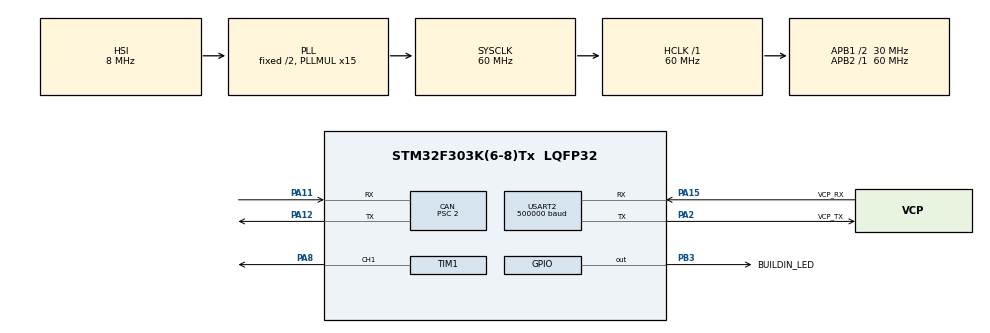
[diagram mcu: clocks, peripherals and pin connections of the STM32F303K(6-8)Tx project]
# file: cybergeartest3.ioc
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CAN.BS1=CAN_BS1_12TQ
CAN.BS2=CAN_BS2_2TQ
CAN.CalculateBaudRate=999999
CAN.CalculateTimeBit=1000
CAN.CalculateTimeQuantum=66.66666666666667
CAN.Prescaler=2
Dma.Request0=USART2_TX
Dma.Request1=USART2_RX
Dma.USART2_RX.1.Direction=DMA_PERIPH_TO_MEMORY
Dma.USART2_RX.1.Instance=DMA1_Channel6
Dma.USART2_RX.1.MemDataAlignment=DMA_MDATAALIGN_BYTE
Dma.USART2_RX.1.MemInc=DMA_MINC_ENABLE
Dma.USART2_RX.1.Mode=DMA_CIRCULAR
Dma.USART2_RX.1.PeriphDataAlignment=DMA_PDATAALIGN_BYTE
Dma.USART2_RX.1.PeriphInc=DMA_PINC_DISABLE
Dma.USART2_RX.1.Priority=DMA_PRIORITY_LOW
Dma.USART2_TX.0.Direction=DMA_MEMORY_TO_PERIPH
Dma.USART2_TX.0.Instance=DMA1_Channel7
Dma.USART2_TX.0.MemDataAlignment=DMA_MDATAALIGN_BYTE
Dma.USART2_TX.0.MemInc=DMA_MINC_ENABLE
Dma.USART2_TX.0.Mode=DMA_NORMAL
Dma.USART2_TX.0.PeriphDataAlignment=DMA_PDATAALIGN_BYTE
Dma.USART2_TX.0.PeriphInc=DMA_PINC_DISABLE
Dma.USART2_TX.0.Priority=DMA_PRIORITY_LOW
Mcu.Family=STM32F3
Mcu.Name=STM32F303K(6-8)Tx
Mcu.Package=LQFP32
NVIC.DMA1_Channel6_IRQn=true\:0\:0\:false\:false\:true\:false\:true\:true
NVIC.DMA1_Channel7_IRQn=true\:0\:0\:false\:false\:true\:false\:true\:true
NVIC.PriorityGroup=NVIC_PRIORITYGROUP_4
NVIC.USART2_IRQn=true\:0\:0\:false\:false\:true\:true\:true\:true
PA11.Mode=CAN_Activate
PA11.Signal=CAN_RX
PA12.Mode=CAN_Activate
PA12.Signal=CAN_TX
PA13.GPIO_Label=SWDIO
PA13.Mode=Serial_Wire
PA13.Signal=SYS_JTMS-SWDIO
PA14.GPIO_Label=SWCLK
PA14.Mode=Serial_Wire
PA14.Signal=SYS_JTCK-SWCLK
PA15.GPIO_Label=VCP_RX
PA15.Mode=Asynchronous
PA15.Signal=USART2_RX
PA2.GPIO_Label=VCP_TX
PA2.Mode=Asynchronous
PA2.Signal=USART2_TX
PA8.Signal=S_TIM1_CH1
PB3.GPIO_Label=BUILDIN_LED
PB3.Signal=GPIO_Output
PF0\ /\ OSC_IN.GPIO_Label=MCO
PF0\ /\ OSC_IN.Mode=HSE-External-Clock-Source
PF0\ /\ OSC_IN.Signal=RCC_OSC_IN
ProjectManager.HeapSize=0x200
ProjectManager.StackSize=0x400
ProjectManager.TargetToolchain=STM32CubeIDE
RCC.AHBFreq_Value=60000000
RCC.APB1CLKDivider=RCC_HCLK_DIV2
RCC.APB1Freq_Value=30000000
RCC.APB1TimFreq_Value=60000000
RCC.APB2Freq_Value=60000000
RCC.APB2TimFreq_Value=60000000
RCC.CortexFreq_Value=60000000
RCC.HCLKFreq_Value=60000000
RCC.HSE_VALUE=8000000
RCC.HSI_VALUE=8000000
RCC.PLLMUL=RCC_PLL_MUL15
RCC.SYSCLKFreq_VALUE=60000000
RCC.SYSCLKSourceVirtual=RCC_SYSCLKSOURCE_PLLCLK
SH.S_TIM1_CH1.0=TIM1_CH1,PWM Generation1 CH1
TIM1.Channel-PWM\ Generation1\ CH1=TIM_CHANNEL_1
USART2.BaudRate=500000
USART2.VirtualMode-Asynchronous=VM_ASYNC
board=NUCLEO-F303K8

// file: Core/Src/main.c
/* USER CODE BEGIN Header */
/**
 ******************************************************************************
 * @file           : main.c
 * @brief          : Main program body
 ******************************************************************************
 * @attention
 *
 * <h2><center>&copy; Copyright (c) 2024 STMicroelectronics.
 * All rights reserved.</center></h2>
 *
 * This software component is licensed by ST under BSD 3-Clause license,
 * the "License"; You may not use this file except in compliance with the
 * License. You may obtain a copy of the License at:
 *                        opensource.org/licenses/BSD-3-Clause
 *
 ******************************************************************************
 */
/* USER CODE END Header */
#include "main.h"

/* USER CODE BEGIN Includes */
#include "CyberGear.h"
#include "Easy_CAN6.h"
#include <math.h>
#include <string.h>
/* USER CODE END Includes */

CAN_HandleTypeDef hcan;

TIM_HandleTypeDef htim1;

UART_HandleTypeDef huart2;
DMA_HandleTypeDef hdma_usart2_tx;
DMA_HandleTypeDef hdma_usart2_rx;

/* USER CODE BEGIN PV */
CyberGear_Typedef my_cyber[4];
Easy_CAN6_Typedef ecan;
/* USER CODE END PV */

void SystemClock_Config(void);
static void MX_GPIO_Init(void);
static void MX_DMA_Init(void);
static void MX_USART2_UART_Init(void);
static void MX_CAN_Init(void);
static void MX_TIM1_Init(void);

/* USER CODE BEGIN 0 */
#define is_run_CyberGear (1) ///////////////////////////////////CyberGear動作させるかさせないか

#define byte_number 20
uint8_t UART2_RX_Buffer[byte_number];
uint8_t txBuff[] = "Hello, World\n";
uint8_t txBuff_2[] = "99行目\n";
uint32_t startTime;
uint32_t setTime;
uint32_t sdTime;
uint8_t sdBuff[100];
uint8_t flagRcved;		/* 受信完�?フラグ */
uint8_t rcvBuffer[30];	/* 受信バッファ*/
uint8_t sndBuffer[100]; /* 送信バッファ */
static UART_HandleTypeDef *pUart2;
float motor_speed[4];

unsigned char buf[20];

#define TRUE (1)
#define FALSE (0)

// デバッグ用
uint32_t debug;
uint16_t debug_1 = 10;
uint16_t debug_2 = 10;
uint16_t debug_current_line = 1;

// 1周期の時間を計測する用
uint32_t begin_time;
uint32_t end_time;
uint32_t cycle_time;

// UARTの受信内容
uint8_t uart_prev_count;
uint8_t uart_prev_count_past;
uint16_t command_id;
float command_content;

uint32_t wr_ptr;

// CyberGearの受信データ保存用
float CyberGear_pos[4];

void HAL_CAN_RxFifo0MsgPendingCallback(CAN_HandleTypeDef *hcan)
{
	CAN_RxHeaderTypeDef RxHeader;
	uint8_t rxbuf[8];
	HAL_CAN_GetRxMessage(hcan, CAN_RX_FIFO0, &RxHeader, rxbuf);

	CyberGear_CANRxTask(&my_cyber[0], hcan, RxHeader, rxbuf);
	CyberGear_CANRxTask(&my_cyber[1], hcan, RxHeader, rxbuf);
	CyberGear_CANRxTask(&my_cyber[2], hcan, RxHeader, rxbuf);
	CyberGear_CANRxTask(&my_cyber[3], hcan, RxHeader, rxbuf);
}

void HAL_UART_TxCpltCallback(UART_HandleTypeDef *huart)
{
	huart2.gState = HAL_UART_STATE_READY;
}

void HAL_UART_RxCpltCallback(UART_HandleTypeDef *huart)
{
	flagRcved = TRUE; /* 受信完�?フラグ設�? */
	//  HAL_GPIO_TogglePin(BUILDIN_LED_GPIO_Port, BUILDIN_LED_Pin);
}
/* USER CODE END 0 */

int main(void)
{

	/* MCU Configuration--------------------------------------------------------*/

	/* Reset of all peripherals, Initializes the Flash interface and the Systick. */
	HAL_Init();

	/* Configure the system clock */
	SystemClock_Config();

	/* Initialize all configured peripherals */
	MX_GPIO_Init();
	MX_DMA_Init();
	MX_USART2_UART_Init();
	MX_CAN_Init();
	MX_TIM1_Init();
	/* USER CODE BEGIN 2 */
	Easy_CAN6_Start(&ecan, &hcan, 2);

	//	CAN_TxHeaderTypeDef TxHeader;
	//	uint32_t TxMailbox;
	//	uint8_t TxData[8];
	//	if(0 < HAL_CAN_GetTxMailboxesFreeLevel(&hcan)){
	//	    TxHeader.StdId = 0x1FF;                 // CAN ID
	//	    TxHeader.RTR = CAN_RTR_DATA;            // フレームタイプはデータフレーム
	//	    TxHeader.IDE = CAN_ID_STD;              // 標準ID(11ﾋﾞｯﾄ)
	//	    TxHeader.DLC = 8;                       // データ長は8バイトに
	//	    TxHeader.TransmitGlobalTime = DISABLE;  // ???
	//	    TxData[0] = 0x61;
	//	    TxData[1] = 0xA8; // MIN-2500 MAX25000
	//	    TxData[2] = 0x00;
	//	    TxData[3] = 0x00;
	//	    TxData[4] = 0x00;
	//	    TxData[5] = 0x00;
	//	    TxData[6] = 0x00;
	//	    TxData[7] = 0x00;
	//	    HAL_CAN_AddTxMessage(&hcan, &TxHeader, TxData, &TxMailbox);
	//	}

//	for (int i = 0; i < 4; i++)

		for (int i = 1; i < 3; i++)
	{
		if (is_run_CyberGear)
		{
			debug_1 = i;
//			debug_2 = 195;
			debug_current_line = __LINE__;
			CyberGear_Init(&my_cyber[i], &ecan, 0x70 + i, 0, HAL_Delay);
//			debug_2 = 197;
			debug_current_line = __LINE__;
			CyberGear_ResetMotor(&my_cyber[i]);
//			debug_2 = 199;
			debug_current_line = __LINE__;
			CyberGear_SetMode(&my_cyber[i], MODE_SPEED);
//			debug_2 = 201;
			debug_current_line = __LINE__;
			CyberGear_SetConfig(&my_cyber[i], 12.0f, 30.0f, 4.0f);
//			debug_2 = 203;
			debug_current_line = __LINE__;
			CyberGear_EnableMotor(&my_cyber[i]);
//			debug_2 = 205;
			debug_current_line = __LINE__;
		}
	}
	HAL_Delay(10);

	HAL_UART_Transmit_DMA(&huart2,
						  (uint8_t *)"Then toggle LED each 8 letters.\r\n", 33);
	/* USER CODE END 2 */

	/* Infinite loop */
	while (1)
	{

		/* USER CODE BEGIN 3 */
		debug_current_line = __LINE__;
		begin_time = HAL_GetTick();
		//		HAL_GPIO_TogglePin(BUILDIN_LED_GPIO_Port, BUILDIN_LED_Pin);

		HAL_UART_Receive_DMA(&huart2, rcvBuffer, 7);
		//		HAL_UART_Receive(&huart2, rcvBuffer, 7, 1000);

		if (rcvBuffer[0] == 0 && rcvBuffer[1] == 0 && rcvBuffer[2] == 0 && rcvBuffer[3] == 0 && rcvBuffer[4] == 0 && rcvBuffer[5] == 0 && rcvBuffer[6] == 0)
		{
			HAL_Delay(100);
			HAL_NVIC_SystemReset();
		}

		buf[0] = (unsigned char)rcvBuffer[1];
		buf[1] = (unsigned char)rcvBuffer[2];
		buf[2] = (unsigned char)rcvBuffer[3];
		buf[3] = (unsigned char)rcvBuffer[4];
		buf[4] = (unsigned char)rcvBuffer[5];
		buf[5] = (unsigned char)rcvBuffer[6];
		buf[6] = (unsigned char)rcvBuffer[0];

		//		debug_2 = rcvBuffer[0];
		//		if(rcvBuffer[0] == 0){
		//			memcpy(buf, &rcvBuffer[1], sizeof(buf));
		//		}else{
		//			memcpy(buf, &rcvBuffer[0], sizeof(buf));
		//		}

		memcpy(&uart_prev_count, &buf[0], sizeof(uint8_t));

		uint8_t reversed_bytes[4];
		reversed_bytes[0] = buf[2];
		reversed_bytes[1] = buf[1];
		memcpy(&command_id, reversed_bytes, sizeof(uint16_t));

		uint8_t _temp_command_content[4];
		memcpy(_temp_command_content, &buf[3], sizeof(float));
		// バイト列を逆順にコピー
		for (int j = 0; j < 4; j++)
		{
			reversed_bytes[j] = _temp_command_content[3 - j];
		}
		memcpy(&command_content, reversed_bytes, sizeof(float));

		pUart2 = &huart2;
		wr_ptr = pUart2->hdmarx->Instance->CNDTR;

		if (uart_prev_count == 0 || uart_prev_count == uart_prev_count_past)
		{
			debug_2 = 123;
			wr_ptr = 0;
		}
		else if (uart_prev_count == uart_prev_count_past + 1)
		{
			debug_current_line = __LINE__;
			//    char str[6];
			//    sprintf(str, "\ndata[0] : %d\n", data[0]);
			//    HAL_UART_Transmit(&huart2, (uint8_t *)str, strlen(str), 0xFFFF);
			//
			//    sprintf(str, "data[1] : %d\n", data[1]);
			//    HAL_UART_Transmit(&huart2, (uint8_t *)str, strlen(str), 0xFFFF);

			switch (command_id)
			{
			case 22:
				motor_speed[0] = command_content;
				if (is_run_CyberGear)
				{
//					CyberGear_ControlSpeed(&my_cyber[0],
//										   (float)motor_speed[0]);
				}
				if (motor_speed[0] > 5)
				{
					HAL_GPIO_WritePin(BUILDIN_LED_GPIO_Port,
									  BUILDIN_LED_Pin, 1);
				}
				else
				{
					HAL_GPIO_WritePin(BUILDIN_LED_GPIO_Port,
									  BUILDIN_LED_Pin, 0);
				}
				break;

			case 24:
				motor_speed[1] = command_content;
				if (is_run_CyberGear)
				{
//					CyberGear_ControlSpeed(&my_cyber[1],
//										   (float)motor_speed[1]);
				}
				break;

			case 26:
				motor_speed[2] = command_content;
				if (is_run_CyberGear)
				{
//					CyberGear_ControlSpeed(&my_cyber[2],
//										   (float)motor_speed[2]);
				}
				break;

			case 27:
				debug_2 = 1000;
				debug_current_line = __LINE__;
				for (int i = 1; i < 3; i++)
				{
					debug_1 = i;
					if (is_run_CyberGear)
					{
						debug_current_line = __LINE__;
						CyberGear_Init(&my_cyber[i], &ecan, 0x70 + i, 0,
									   HAL_Delay);
						debug_current_line = __LINE__;
						CyberGear_ResetMotor(&my_cyber[i]);
						debug_current_line = __LINE__;
						CyberGear_SetMode(&my_cyber[i], MODE_SPEED);
						debug_current_line = __LINE__;
						CyberGear_SetConfig(&my_cyber[i], 12.0f, 30.0f, 4.0f);
						debug_current_line = __LINE__;
						CyberGear_EnableMotor(&my_cyber[i]);
						debug_current_line = __LINE__;
					}
				}
				break;

			case 28:
				motor_speed[3] = command_content;
				if (is_run_CyberGear)
				{
//					CyberGear_ControlSpeed(&my_cyber[3],
//										   (float)motor_speed[3]);
				}
				break;
			}

//			CyberGear_pos[0] = my_cyber[0].cyberfeedback.feedback_pos;
//			CyberGear_pos[1] = my_cyber[1].cyberfeedback.feedback_pos;
//			CyberGear_pos[2] = my_cyber[2].cyberfeedback.feedback_pos;
//			CyberGear_pos[3] = my_cyber[3].cyberfeedback.feedback_pos;

					HAL_Delay(1);
		}

		uart_prev_count_past = uart_prev_count;

		end_time = HAL_GetTick();
		cycle_time = end_time - begin_time;
	}
	/* USER CODE END 3 */
}

void SystemClock_Config(void)
{
	RCC_OscInitTypeDef RCC_OscInitStruct = {0};
	RCC_ClkInitTypeDef RCC_ClkInitStruct = {0};
	RCC_PeriphCLKInitTypeDef PeriphClkInit = {0};

	/** Initializes the RCC Oscillators according to the specified parameters
	 * in the RCC_OscInitTypeDef structure.
	 */
	RCC_OscInitStruct.OscillatorType = RCC_OSCILLATORTYPE_HSI;
	RCC_OscInitStruct.HSIState = RCC_HSI_ON;
	RCC_OscInitStruct.HSICalibrationValue = RCC_HSICALIBRATION_DEFAULT;
	RCC_OscInitStruct.PLL.PLLState = RCC_PLL_ON;
	RCC_OscInitStruct.PLL.PLLSource = RCC_PLLSOURCE_HSI;
	RCC_OscInitStruct.PLL.PLLMUL = RCC_PLL_MUL15;
	if (HAL_RCC_OscConfig(&RCC_OscInitStruct) != HAL_OK)
	{
		Error_Handler();
	}

	/** Initializes the CPU, AHB and APB buses clocks
	 */
	RCC_ClkInitStruct.ClockType = RCC_CLOCKTYPE_HCLK | RCC_CLOCKTYPE_SYSCLK | RCC_CLOCKTYPE_PCLK1 | RCC_CLOCKTYPE_PCLK2;
	RCC_ClkInitStruct.SYSCLKSource = RCC_SYSCLKSOURCE_PLLCLK;
	RCC_ClkInitStruct.AHBCLKDivider = RCC_SYSCLK_DIV1;
	RCC_ClkInitStruct.APB1CLKDivider = RCC_HCLK_DIV2;
	RCC_ClkInitStruct.APB2CLKDivider = RCC_HCLK_DIV1;

	if (HAL_RCC_ClockConfig(&RCC_ClkInitStruct, FLASH_LATENCY_2) != HAL_OK)
	{
		Error_Handler();
	}
	PeriphClkInit.PeriphClockSelection = RCC_PERIPHCLK_TIM1;
	PeriphClkInit.Tim1ClockSelection = RCC_TIM1CLK_HCLK;
	if (HAL_RCCEx_PeriphCLKConfig(&PeriphClkInit) != HAL_OK)
	{
		Error_Handler();
	}
}

static void MX_CAN_Init(void)
{

	hcan.Instance = CAN;
	hcan.Init.Prescaler = 2;
	hcan.Init.Mode = CAN_MODE_NORMAL;
	hcan.Init.SyncJumpWidth = CAN_SJW_1TQ;
	hcan.Init.TimeSeg1 = CAN_BS1_12TQ;
	hcan.Init.TimeSeg2 = CAN_BS2_2TQ;
	hcan.Init.TimeTriggeredMode = DISABLE;
	hcan.Init.AutoBusOff = DISABLE;
	hcan.Init.AutoWakeUp = DISABLE;
	hcan.Init.AutoRetransmission = DISABLE;
	hcan.Init.ReceiveFifoLocked = DISABLE;
	hcan.Init.TransmitFifoPriority = DISABLE;
	if (HAL_CAN_Init(&hcan) != HAL_OK)
	{
		Error_Handler();
	}
}

static void MX_TIM1_Init(void)
{

	TIM_MasterConfigTypeDef sMasterConfig = {0};
	TIM_OC_InitTypeDef sConfigOC = {0};
	TIM_BreakDeadTimeConfigTypeDef sBreakDeadTimeConfig = {0};

	htim1.Instance = TIM1;
	htim1.Init.Prescaler = 0;
	htim1.Init.CounterMode = TIM_COUNTERMODE_UP;
	htim1.Init.Period = 65535;
	htim1.Init.ClockDivision = TIM_CLOCKDIVISION_DIV1;
	htim1.Init.RepetitionCounter = 0;
	htim1.Init.AutoReloadPreload = TIM_AUTORELOAD_PRELOAD_DISABLE;
	if (HAL_TIM_PWM_Init(&htim1) != HAL_OK)
	{
		Error_Handler();
	}
	sMasterConfig.MasterOutputTrigger = TIM_TRGO_RESET;
	sMasterConfig.MasterOutputTrigger2 = TIM_TRGO2_RESET;
	sMasterConfig.MasterSlaveMode = TIM_MASTERSLAVEMODE_DISABLE;
	if (HAL_TIMEx_MasterConfigSynchronization(&htim1, &sMasterConfig) != HAL_OK)
	{
		Error_Handler();
	}
	sConfigOC.OCMode = TIM_OCMODE_PWM1;
	sConfigOC.Pulse = 0;
	sConfigOC.OCPolarity = TIM_OCPOLARITY_HIGH;
	sConfigOC.OCNPolarity = TIM_OCNPOLARITY_HIGH;
	sConfigOC.OCFastMode = TIM_OCFAST_DISABLE;
	sConfigOC.OCIdleState = TIM_OCIDLESTATE_RESET;
	sConfigOC.OCNIdleState = TIM_OCNIDLESTATE_RESET;
	if (HAL_TIM_PWM_ConfigChannel(&htim1, &sConfigOC, TIM_CHANNEL_1) != HAL_OK)
	{
		Error_Handler();
	}
	sBreakDeadTimeConfig.OffStateRunMode = TIM_OSSR_DISABLE;
	sBreakDeadTimeConfig.OffStateIDLEMode = TIM_OSSI_DISABLE;
	sBreakDeadTimeConfig.LockLevel = TIM_LOCKLEVEL_OFF;
	sBreakDeadTimeConfig.DeadTime = 0;
	sBreakDeadTimeConfig.BreakState = TIM_BREAK_DISABLE;
	sBreakDeadTimeConfig.BreakPolarity = TIM_BREAKPOLARITY_HIGH;
	sBreakDeadTimeConfig.BreakFilter = 0;
	sBreakDeadTimeConfig.Break2State = TIM_BREAK2_DISABLE;
	sBreakDeadTimeConfig.Break2Polarity = TIM_BREAK2POLARITY_HIGH;
	sBreakDeadTimeConfig.Break2Filter = 0;
	sBreakDeadTimeConfig.AutomaticOutput = TIM_AUTOMATICOUTPUT_DISABLE;
	if (HAL_TIMEx_ConfigBreakDeadTime(&htim1, &sBreakDeadTimeConfig) != HAL_OK)
	{
		Error_Handler();
	}
	HAL_TIM_MspPostInit(&htim1);
}

static void MX_USART2_UART_Init(void)
{

	huart2.Instance = USART2;
	huart2.Init.BaudRate = 500000;
	huart2.Init.WordLength = UART_WORDLENGTH_8B;
	huart2.Init.StopBits = UART_STOPBITS_1;
	huart2.Init.Parity = UART_PARITY_NONE;
	huart2.Init.Mode = UART_MODE_TX_RX;
	huart2.Init.HwFlowCtl = UART_HWCONTROL_NONE;
	huart2.Init.OverSampling = UART_OVERSAMPLING_16;
	huart2.Init.OneBitSampling = UART_ONE_BIT_SAMPLE_DISABLE;
	huart2.AdvancedInit.AdvFeatureInit = UART_ADVFEATURE_NO_INIT;
	if (HAL_UART_Init(&huart2) != HAL_OK)
	{
		Error_Handler();
	}
}

static void MX_DMA_Init(void)
{

	/* DMA controller clock enable */
	__HAL_RCC_DMA1_CLK_ENABLE();

	/* DMA interrupt init */
	/* DMA1_Channel6_IRQn interrupt configuration */
	HAL_NVIC_SetPriority(DMA1_Channel6_IRQn, 0, 0);
	HAL_NVIC_EnableIRQ(DMA1_Channel6_IRQn);
	/* DMA1_Channel7_IRQn interrupt configuration */
	HAL_NVIC_SetPriority(DMA1_Channel7_IRQn, 0, 0);
	HAL_NVIC_EnableIRQ(DMA1_Channel7_IRQn);
}

static void MX_GPIO_Init(void)
{
	GPIO_InitTypeDef GPIO_InitStruct = {0};

	/* GPIO Ports Clock Enable */
	__HAL_RCC_GPIOF_CLK_ENABLE();
	__HAL_RCC_GPIOA_CLK_ENABLE();
	__HAL_RCC_GPIOB_CLK_ENABLE();

	/*Configure GPIO pin Output Level */
	HAL_GPIO_WritePin(BUILDIN_LED_GPIO_Port, BUILDIN_LED_Pin, GPIO_PIN_RESET);

	/*Configure GPIO pin : BUILDIN_LED_Pin */
	GPIO_InitStruct.Pin = BUILDIN_LED_Pin;
	GPIO_InitStruct.Mode = GPIO_MODE_OUTPUT_PP;
	GPIO_InitStruct.Pull = GPIO_NOPULL;
	GPIO_InitStruct.Speed = GPIO_SPEED_FREQ_LOW;
	HAL_GPIO_Init(BUILDIN_LED_GPIO_Port, &GPIO_InitStruct);

}

void Error_Handler(void)
{
	__disable_irq();
	while (1)
	{
	}
}
